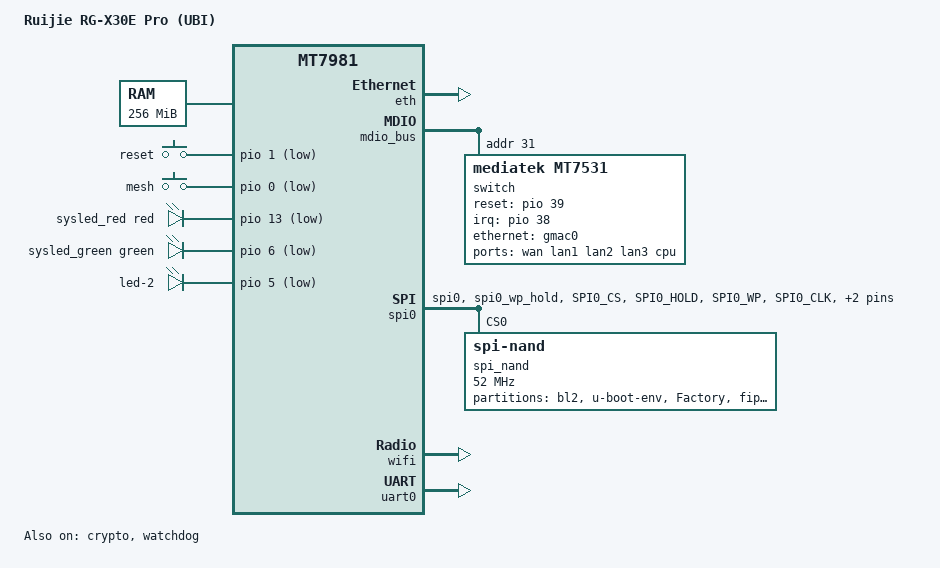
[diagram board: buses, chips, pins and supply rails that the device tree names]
// SPDX-License-Identifier: GPL-2.0-or-later OR MIT

/dts-v1/;
#include <dt-bindings/gpio/gpio.h>
#include <dt-bindings/input/input.h>
#include <dt-bindings/leds/common.h>

#include "mt7981b.dtsi"

/ {
	model = "Ruijie RG-X30E Pro (UBI)";
	compatible = "ruijie,rg-x30e-pro-ubi", "mediatek,mt7981";

	aliases {
  		serial0 = &uart0;
		led-boot = &sysled_red;
		led-failsafe = &sysled_red;
		led-running = &sysled_green;
		led-upgrade = &sysled_red;
	};

	chosen {
		stdout-path = "serial0:115200n8";
		rootdisk = <&ubi_rootdisk>;
		bootargs = "root=/dev/fit0 rootwait";
	};

	memory@40000000 {
		reg = <0 0x40000000 0 0x10000000>;
		device_type = "memory";
	};

	gpio-keys {
		compatible = "gpio-keys";

		button-0 {
			label = "reset";
			linux,code = <KEY_RESTART>;
			gpios = <&pio 1 GPIO_ACTIVE_LOW>;
		};

		button-1 {
			label = "mesh";
			linux,code = <KEY_WPS_BUTTON>;
			gpios = <&pio 0 GPIO_ACTIVE_LOW>;
		};
	};

	leds-gpio {
		compatible = "gpio-leds";

		sysled_red: led-0 {
			color = <LED_COLOR_ID_RED>;
			function = LED_FUNCTION_STATUS;
			gpios = <&pio 13 GPIO_ACTIVE_LOW>;
		};

		sysled_green: led-1 {
			color = <LED_COLOR_ID_GREEN>;
			function = LED_FUNCTION_STATUS;
			gpios = <&pio 6 GPIO_ACTIVE_LOW>;
		};

		led-2 {
			function = "mesh";
			gpios = <&pio 5 GPIO_ACTIVE_LOW>;
		};
	};
};

&eth {
	status = "okay";

	gmac0: mac@0 {
		compatible = "mediatek,eth-mac";
		reg = <0>;
		phy-mode = "2500base-x";

		fixed-link {
			speed = <2500>;
			full-duplex;
			pause;
		};
	};
};

&mdio_bus {
	switch: switch@1f {
		compatible = "mediatek,mt7531";
		reg = <31>;
		reset-gpios = <&pio 39 GPIO_ACTIVE_HIGH>;
		interrupt-controller;
		#interrupt-cells = <1>;
		interrupt-parent = <&pio>;
		interrupts = <38 IRQ_TYPE_LEVEL_HIGH>;

		ports {
			#address-cells = <1>;
			#size-cells = <0>;

			port@0 {
				reg = <0>;
				label = "wan";
			};

			port@1 {
				reg = <1>;
				label = "lan1";
			};

			port@2 {
				reg = <2>;
				label = "lan2";
			};

			port@4 {
				reg = <4>;
				label = "lan3";
			};

			port@6 {
				reg = <6>;
				label = "cpu";
				ethernet = <&gmac0>;
				phy-mode = "2500base-x";

				fixed-link {
					speed = <2500>;
					full-duplex;
					pause;
				};
			};
		};
	};
};

&spi0 {
	pinctrl-names = "default";
	pinctrl-0 = <&spi0_flash_pins>;
	status = "okay";

	spi_nand: flash@0 {
		compatible = "spi-nand";
		reg = <0>;

		spi-max-frequency = <52000000>;
		spi-tx-bus-width = <4>;
		spi-rx-bus-width = <4>;

		spi-cal-enable;
		spi-cal-mode = "read-data";
		spi-cal-datalen = <7>;
		spi-cal-data = /bits/ 8 <0x53 0x50 0x49 0x4E 0x41 0x4E 0x44>;
		spi-cal-addrlen = <5>;
		spi-cal-addr = /bits/ 32 <0x0 0x0 0x0 0x0 0x0>;

		partitions {
			compatible = "fixed-partitions";
			#address-cells = <1>;
			#size-cells = <1>;

			partition@0 {
				label = "bl2";
				reg = <0x00 0x100000>;
			};

			partition@100000 {
				label = "u-boot-env";
				reg = <0x100000 0x80000>;
			};

			partition@180000 {
				label = "Factory";
				reg = <0x180000 0x200000>;
			};

			partition@380000 {
				label = "fip";
				reg = <0x380000 0x200000>;
			};

			partition@580000 {
				label = "fip2";
				reg = <0x580000 0x200000>;
			};

			partition@780000 {
				label = "product_info";
				reg = <0x780000 0x80000>;
			};

			partition@800000 {
				label = "kdump";
				reg = <0x800000 0x80000>;
			};

			partition@880000 {
				label = "ubi";
				reg = <0x880000 0x0>;
				compatible = "linux,ubi";

				volumes {
					ubi-volume-factory {
						volname = "factory";

						nvmem-layout {
							compatible = "fixed-layout";
							#address-cells = <1>;
							#size-cells = <1>;
							
							eeprom_factory_0: eeprom@0 {
								reg = <0x0 0x1000>;
							};
						};
					};

					ubi-volume-productinfo {
						volname = "product_info";

						nvmem-layout {
							compatible = "fixed-layout";
							#address-cells = <1>;
							#size-cells = <1>;

							label_mac: ethaddr@34 {
								compatible = "mac-base";
								reg = <0x34 0x11>;
								#nvmem-cell-cells = <1>;
							};
						};
					};

					ubi-volume-fip {
						volname = "fip";
					};

					ubi-volume-ubootenv {
						volname = "ubootenv";
					};

					ubi-volume-ubootenv2 {
						volname = "ubootenv2";
					};

					ubi_rootdisk: ubi-volume-fit {
						volname = "fit";
					};
				};
			};
		};
	};
};

&pio {
	spi0_flash_pins: spi0-pins {
		mux {
			function = "spi";
			groups = "spi0", "spi0_wp_hold";
		};

		conf-pu {
			pins = "SPI0_CS", "SPI0_HOLD", "SPI0_WP";
			drive-strength = <8>;
			bias-pull-up = <0>;
		};

		conf-pd {
			pins = "SPI0_CLK", "SPI0_MOSI", "SPI0_MISO";
			drive-strength = <8>;
			bias-pull-down = <0>;
		};
	};
};

&wifi {
	#address-cells = <1>;
	#size-cells = <0>;
	nvmem-cells = <&eeprom_factory_0>;
	nvmem-cell-names = "eeprom";
	status = "okay";
};

&crypto {
	status = "okay";
};

&uart0 {
	status = "okay";
};

&watchdog {
	status = "okay";
};

